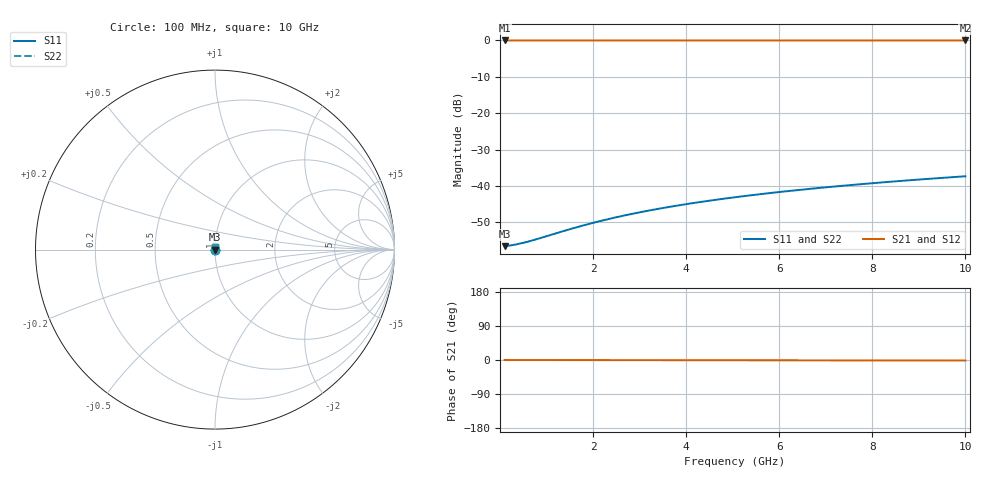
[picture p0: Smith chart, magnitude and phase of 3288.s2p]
# Hz S RI R 50.00
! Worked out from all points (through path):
!   100 points, 100 MHz to 10 GHz, reference 50 ohm
!   highest |S21| = -0.01 dB at 100 MHz (marker M1); lowest = 0.0 dB at 10 GHz (marker M2)
!   lowest |S11| = -56.6 dB at 100 MHz (marker M3), VSWR 1.00, Z = 50.1 + j0.0135 ohm
!   |S11| at or under -10 dB: start of sweep to end of sweep
!   |S22| runs from -56.6 to -37.4 dB; largest |S21 - S12| = 0
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1e8  0.00148 0.000134  0.9985 -0.000229  0.9985 -0.000229  0.00148 0.000134
2e8  0.00149 0.000268  0.9985 -0.000457  0.9985 -0.000457  0.00149 0.000268
3e8  0.00149 0.000402  0.9985 -0.000686  0.9985 -0.000686  0.00149 0.000402
4e8  0.0015 0.000536  0.9985 -0.000914  0.9985 -0.000914  0.0015 0.000536
6e8  0.00151 0.000805  0.9985 -0.00137  0.9985 -0.00137  0.00151 0.000805
8e8  0.00152 0.00107  0.9985 -0.00183  0.9985 -0.00183  0.00152 0.00107
1.5e9  0.00154 0.00201  0.9985 -0.00343  0.9985 -0.00343  0.00154 0.00201
1.8e9  0.00155 0.00241  0.9984 -0.00411  0.9984 -0.00411  0.00155 0.00241
2.2e9  0.00156 0.00295  0.9984 -0.00503  0.9984 -0.00503  0.00156 0.00295
2.6e9  0.00157 0.00349  0.9984 -0.00594  0.9984 -0.00594  0.00157 0.00349
3e9  0.00159 0.00402  0.9984 -0.00686  0.9984 -0.00686  0.00159 0.00402
3.4e9  0.0016 0.00456  0.9984 -0.00777  0.9984 -0.00777  0.0016 0.00456
3.8e9  0.00162 0.0051  0.9984 -0.00869  0.9984 -0.00869  0.00162 0.0051
4.2e9  0.00163 0.00563  0.9984 -0.0096  0.9984 -0.0096  0.00163 0.00563
4.6e9  0.00165 0.00617  0.9983 -0.0105  0.9983 -0.0105  0.00165 0.00617
5.1e9  0.00167 0.00684  0.9983 -0.0117  0.9983 -0.0117  0.00167 0.00684
5.9e9  0.0017 0.00791  0.9983 -0.0135  0.9983 -0.0135  0.0017 0.00791
6.7e9  0.00174 0.00898  0.9982 -0.0153  0.9982 -0.0153  0.00174 0.00898
7.5e9  0.00178 0.0101  0.9982 -0.0171  0.9982 -0.0171  0.00178 0.0101
8.4e9  0.00184 0.0113  0.9981 -0.0192  0.9981 -0.0192  0.00184 0.0113
9.2e9  0.00189 0.0123  0.9981 -0.021  0.9981 -0.021  0.00189 0.0123
1e10  0.00194 0.0134  0.998 -0.0229  0.998 -0.0229  0.00194 0.0134
